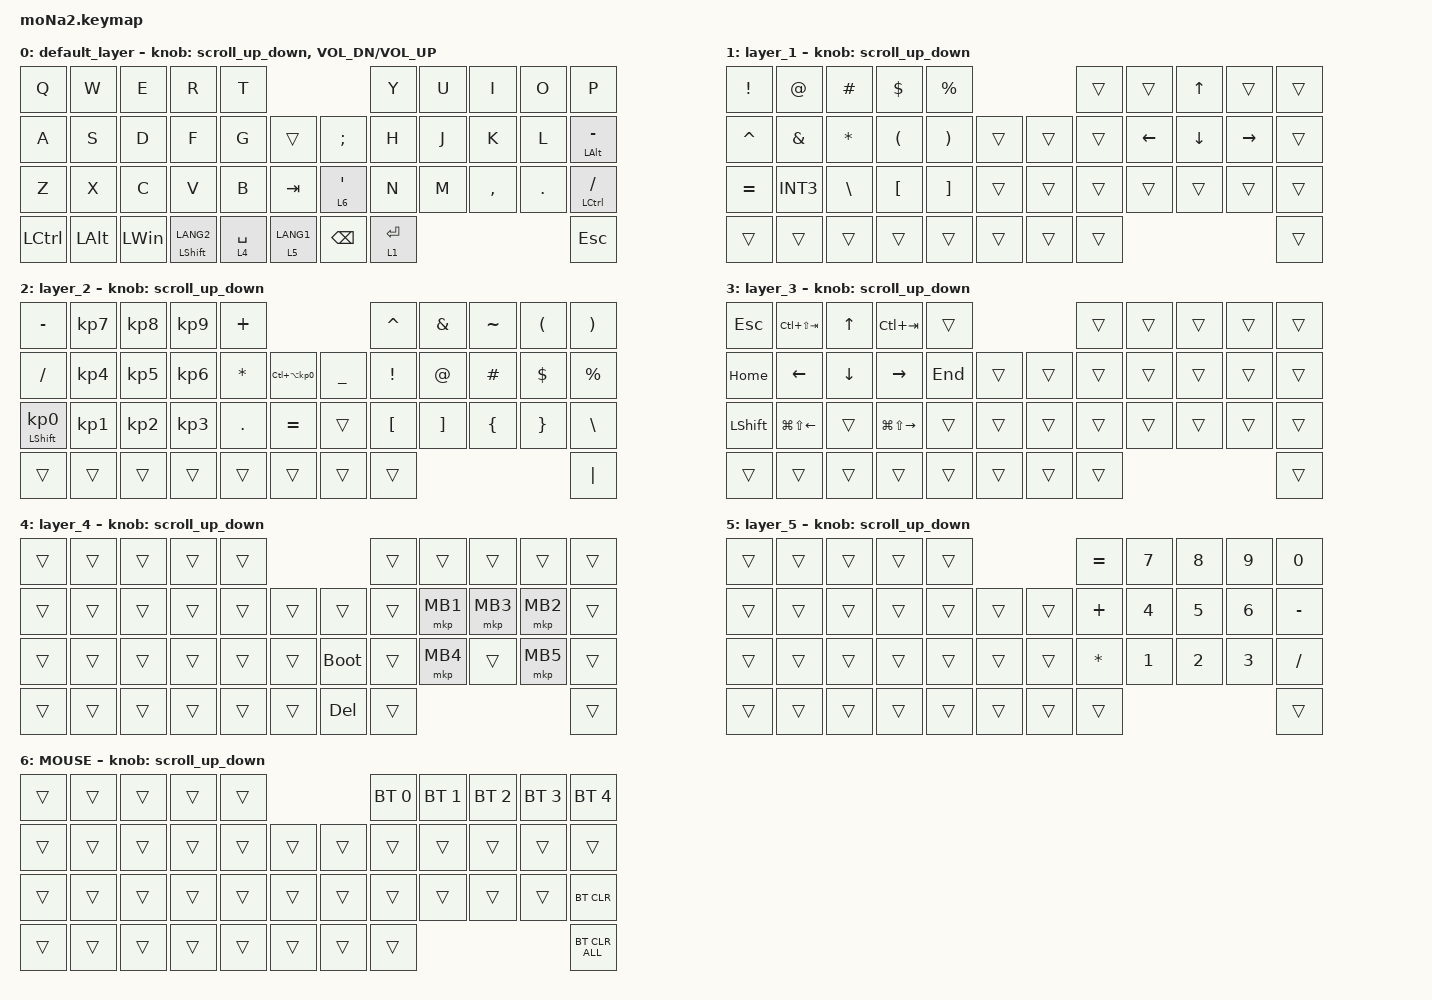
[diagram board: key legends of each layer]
#include <behaviors.dtsi>
#include <dt-bindings/zmk/bt.h>
#include <dt-bindings/zmk/keys.h>
#include <dt-bindings/zmk/pointing.h>
#include <dt-bindings/zmk/pointing.h>

#define ZMK_POINTING_DEFAULT_SCRL_VAL 100
#define MOUSE 6

&mt {
    flavor = "balanced";
    quick-tap-ms = <0>;
};

/ {
    combos { compatible = "zmk,combos"; };

    macros {
        to_layer_0: to_layer_0 {
            compatible = "zmk,behavior-macro-one-param";
            #binding-cells = <1>;
            bindings = <&to 0 &macro_param_1to1 &kp MACRO_PLACEHOLDER>;
            label = "TO_LAYER_0";
        };
    };

    behaviors {
        lt_to_layer_0: lt_to_layer_0 {
            compatible = "zmk,behavior-hold-tap";
            label = "LAYER_TAP_TO_0";
            bindings = <&mo>, <&to_layer_0>;

            #binding-cells = <2>;
            tapping-term-ms = <200>;
        };

        scroll_up_down: behavior_sensor_rotate_mouse_wheel_up_down {
            compatible = "zmk,behavior-sensor-rotate";
            #sensor-binding-cells = <0>;
            bindings = <&msc SCRL_UP>, <&msc SCRL_DOWN>;

            tap-ms = <20>;
        };
    };

    keymap {
        compatible = "zmk,keymap";

        default_layer {
            bindings = <
&kp Q      &kp W     &kp E         &kp R                 &kp T                                           &kp Y        &kp U  &kp I      &kp O    &kp P
&kp A      &kp S     &kp D         &kp F                 &kp G        &trans         &kp SEMI            &kp H        &kp J  &kp K      &kp L    &mt LEFT_ALT MINUS
&kp Z      &kp X     &kp C         &kp V                 &kp B        &kp TAB        &lt 6 SINGLE_QUOTE  &kp N        &kp M  &kp COMMA  &kp DOT  &mt LCTRL SLASH
&kp LCTRL  &kp LALT  &kp LEFT_WIN  &mt LEFT_SHIFT LANG2  &lt 4 SPACE  &lt 5 LANG1    &kp BACKSPACE       &lt 1 ENTER                             &kp ESCAPE
            >;

            sensor-bindings =
                <&scroll_up_down>,
                <&inc_dec_kp C_VOL_DN C_VOL_UP>;
        };

        layer_1 {
            bindings = <
&kp EXCLAMATION  &kp AT_SIGN    &kp HASH       &kp DOLLAR            &kp PERCENT                              &trans  &trans          &kp UP_ARROW    &trans           &trans
&kp CARET        &kp AMPERSAND  &kp ASTERISK   &kp LEFT_PARENTHESIS  &kp RIGHT_PARENTHESIS  &trans    &trans  &trans  &kp LEFT_ARROW  &kp DOWN_ARROW  &kp RIGHT_ARROW  &trans
&kp EQUAL        &kp INT3       &kp BACKSLASH  &kp LEFT_BRACKET      &kp RIGHT_BRACKET      &trans    &trans  &trans  &trans          &trans          &trans           &trans
&trans           &trans         &trans         &trans                &trans                 &trans    &trans  &trans                                                   &trans
            >;

            sensor-bindings = <&scroll_up_down>;
        };

        layer_2 {
            bindings = <
&kp MINUS                   &kp KP_NUMBER_7  &kp KP_NUMBER_8  &kp KP_NUMBER_9  &kp PLUS                                                 &kp CARET         &kp AMPERSAND      &kp TILDE       &kp LEFT_PARENTHESIS  &kp RIGHT_PARENTHESIS
&kp SLASH                   &kp KP_NUMBER_4  &kp KP_NUMBER_5  &kp KP_NUMBER_6  &kp ASTERISK  &kp LC(LA(KP_NUMBER_0))    &kp UNDERSCORE  &kp EXCLAMATION   &kp AT_SIGN        &kp HASH        &kp DOLLAR            &kp PERCENT
&mt LEFT_SHIFT KP_NUMBER_0  &kp KP_NUMBER_1  &kp KP_NUMBER_2  &kp KP_NUMBER_3  &kp PERIOD    &kp EQUAL                  &trans          &kp LEFT_BRACKET  &kp RIGHT_BRACKET  &kp LEFT_BRACE  &kp RIGHT_BRACE       &kp BACKSLASH
&trans                      &trans           &trans           &trans           &trans        &trans                     &trans          &trans                                                                     &kp PIPE
            >;

            sensor-bindings = <&scroll_up_down>;
        };

        layer_3 {
            bindings = <
&kp ESCAPE      &kp LC(LS(TAB))         &kp UP_ARROW    &kp LC(TAB)              &trans                     &trans  &trans  &trans  &trans  &trans
&kp HOME        &kp LEFT_ARROW          &kp DOWN_ARROW  &kp RIGHT_ARROW          &kp END  &trans    &trans  &trans  &trans  &trans  &trans  &trans
&kp LEFT_SHIFT  &kp LG(LS(LEFT_ARROW))  &trans          &kp LG(LS(RIGHT_ARROW))  &trans   &trans    &trans  &trans  &trans  &trans  &trans  &trans
&trans          &trans                  &trans          &trans                   &trans   &trans    &trans  &trans                          &trans
            >;

            sensor-bindings = <&scroll_up_down>;
        };

        layer_4 {
            bindings = <
&trans  &trans  &trans  &trans  &trans                         &trans  &trans    &trans    &trans    &trans
&trans  &trans  &trans  &trans  &trans  &trans    &trans       &trans  &mkp MB1  &mkp MB3  &mkp MB2  &trans
&trans  &trans  &trans  &trans  &trans  &trans    &bootloader  &trans  &mkp MB4  &trans    &mkp MB5  &trans
&trans  &trans  &trans  &trans  &trans  &trans    &kp DELETE   &trans                                &trans
            >;

            sensor-bindings = <&scroll_up_down>;
        };

        layer_5 {
            bindings = <
&trans  &trans  &trans  &trans  &trans                    &kp EQUAL     &kp N7        &kp N8        &kp N9        &kp NUMBER_0
&trans  &trans  &trans  &trans  &trans  &trans    &trans  &kp PLUS      &kp NUMBER_4  &kp NUMBER_5  &kp NUMBER_6  &kp MINUS
&trans  &trans  &trans  &trans  &trans  &trans    &trans  &kp ASTERISK  &kp NUMBER_1  &kp NUMBER_2  &kp NUMBER_3  &kp SLASH
&trans  &trans  &trans  &trans  &trans  &trans    &trans  &trans                                                  &trans
            >;

            sensor-bindings = <&scroll_up_down>;
        };

        MOUSE {
            bindings = <
&trans  &trans  &trans  &trans  &trans                    &bt BT_SEL 0  &bt BT_SEL 1  &bt BT_SEL 2  &bt BT_SEL 3  &bt BT_SEL 4
&trans  &trans  &trans  &trans  &trans  &trans    &trans  &trans        &trans        &trans        &trans        &trans
&trans  &trans  &trans  &trans  &trans  &trans    &trans  &trans        &trans        &trans        &trans        &bt BT_CLR
&trans  &trans  &trans  &trans  &trans  &trans    &trans  &trans                                                  &bt BT_CLR_ALL
            >;

            sensor-bindings = <&scroll_up_down>;
        };
    };
};
